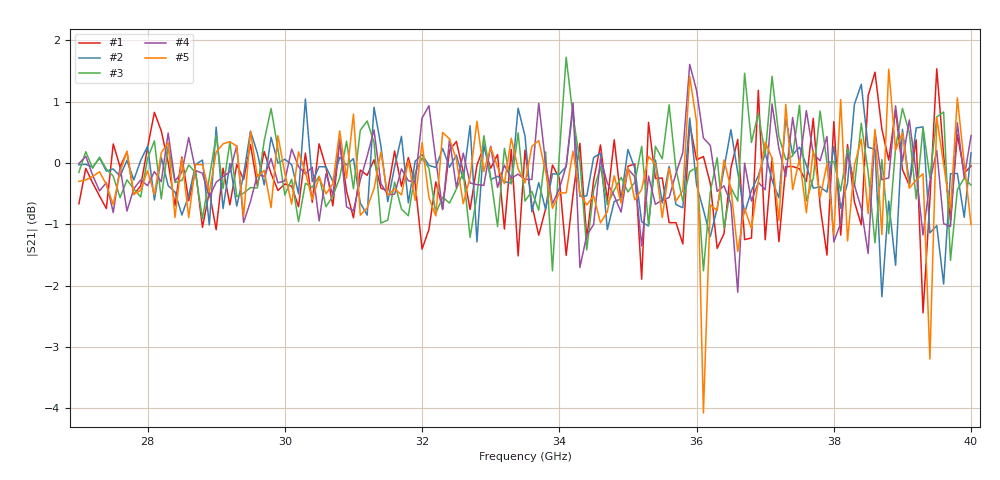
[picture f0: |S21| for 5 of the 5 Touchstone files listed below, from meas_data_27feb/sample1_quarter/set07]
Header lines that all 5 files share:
! Period : +2.00000E-04
! Input Supply timing : delay=+1.60000E-06 width=+2.20000E-06
! Output Supply timing : delay=+1.70000E-06 width=+2.00000E-06
! VNA timing : delay=+2.40000E-06 width=+1.10000E-06
# Hz S RI R 50
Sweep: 27 GHz to 40 GHz
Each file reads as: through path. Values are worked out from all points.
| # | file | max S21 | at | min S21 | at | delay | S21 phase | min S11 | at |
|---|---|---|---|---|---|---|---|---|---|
| 1 | set07_40_16_5_gap.s2p | 1.54 dB | 39.5 GHz | -2.4 dB | 39.3 GHz | 18.2 ps | 144 deg at 33.5 GHz | -31.3 dB | 39.4 GHz |
| 2 | set07_40_18_5_gap.s2p | 1.28 dB | 38.4 GHz | -2.2 dB | 38.7 GHz | 18.4 ps | 131 deg at 33.5 GHz | -31.2 dB | 39.4 GHz |
| 3 | set07_40_19_5_gap.s2p | 1.73 dB | 34.1 GHz | -1.8 dB | 33.9 GHz | 18.2 ps | 137 deg at 33.5 GHz | -30.8 dB | 28 GHz |
| 4 | set07_40_20_5_gap.s2p | 1.61 dB | 35.9 GHz | -2.1 dB | 36.6 GHz | 18.2 ps | 145 deg at 33.5 GHz | -33.5 dB | 36.6 GHz |
| 5 | set07_40_22_5_gap.s2p | 1.53 dB | 38.8 GHz | -4.1 dB | 36.1 GHz | 17.8 ps | 133 deg at 33.5 GHz | -49.1 dB | 31.9 GHz |
